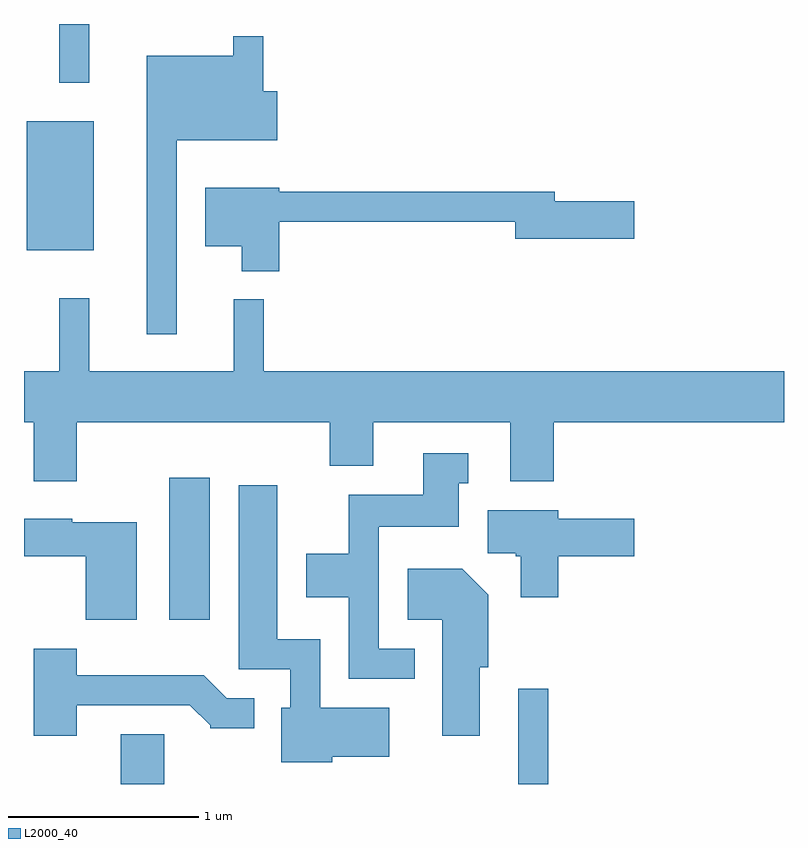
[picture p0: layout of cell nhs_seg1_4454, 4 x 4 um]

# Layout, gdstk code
import gdstk
lib = gdstk.Library(unit=1e-6, precision=1e-09)
def R(c, l, rs):  # rectangles x0, y0, x1, y1
    for r in rs: c.add(gdstk.rectangle(r[:2], r[2:], *l))
def P(c, l, *ps):  # polygons
    for p in ps: c.add(gdstk.Polygon(p, *l))
L2000_40 = (2000, 40)

nhs_seg1_4454 = lib.new_cell('nhs_seg1_4454')
R(nhs_seg1_4454, L2000_40, [(320.121,857.712,320.349,857.974), (322.211,857.712,322.369,858.213), (320.376,858.576,320.589,859.324), (319.626,860.521,319.979,861.199), (319.796,861.403,319.954,861.712)])
P(nhs_seg1_4454, L2000_40, [(320.414,861.101),(320.944,861.101),(320.944,861.359),(320.869,861.359),(320.869,861.648),(320.711,861.648),(320.711,861.544),(320.256,861.544),(320.256,860.078),(320.414,860.078)],
  [(320.954,860.671),(322.196,860.671),(322.196,860.581),(322.824,860.581),(322.824,860.779),(322.404,860.779),(322.404,860.829),(320.954,860.829),(320.954,860.849),(320.566,860.849),(320.566,860.541),(320.756,860.541),(320.756,860.411),(320.954,860.411)],
  [(319.889,859.616),(321.221,859.616),(321.221,859.386),(321.449,859.386),(321.449,859.616),(322.171,859.616),(322.171,859.306),(322.399,859.306),(322.399,859.616),(323.611,859.616),(323.611,859.884),(320.874,859.884),(320.874,860.263),(320.716,860.263),(320.716,859.884),(319.954,859.884),(319.954,860.268),(319.796,860.268),(319.796,859.884),(319.611,859.884),(319.611,859.616),(319.661,859.616),(319.661,859.306),(319.889,859.306)],
  [(321.668,858.424),(321.479,858.424),(321.479,859.066),(321.899,859.066),(321.899,859.296),(321.948,859.296),(321.948,859.454),(321.711,859.454),(321.711,859.234),(321.321,859.234),(321.321,858.924),(321.096,858.924),(321.096,858.696),(321.321,858.696),(321.321,858.266),(321.668,858.266)],
  [(321.234,857.856),(321.534,857.856),(321.534,858.114),(321.169,858.114),(321.169,858.474),(320.944,858.474),(320.944,859.284),(320.741,859.284),(320.741,858.316),(321.011,858.316),(321.011,858.114),(320.966,858.114),(320.966,857.826),(321.234,857.826)],
  [(322.424,858.911),(322.824,858.911),(322.824,859.109),(322.424,859.109),(322.424,859.154),(322.051,859.154),(322.051,858.926),(322.2,858.926),(322.2,858.911),(322.226,858.911),(322.226,858.696),(322.424,858.696)],
  [(320.204,859.089),(319.864,859.089),(319.864,859.109),(319.611,859.109),(319.611,858.911),(319.936,858.911),(319.936,858.576),(320.204,858.576)],
  [(322.009,858.326),(322.054,858.326),(322.054,858.707),(321.917,858.844),(321.631,858.844),(321.631,858.576),(321.811,858.576),(321.811,857.966),(322.009,857.966)],
  [(319.889,858.126),(320.484,858.126),(320.59,858.02),(320.59,858.006),(320.823,858.006),(320.823,858.164),(320.677,858.164),(320.557,858.284),(319.889,858.284),(319.889,858.424),(319.661,858.424),(319.661,857.966),(319.889,857.966)])

lib.write_gds('nhs_seg1_4454.gds')
